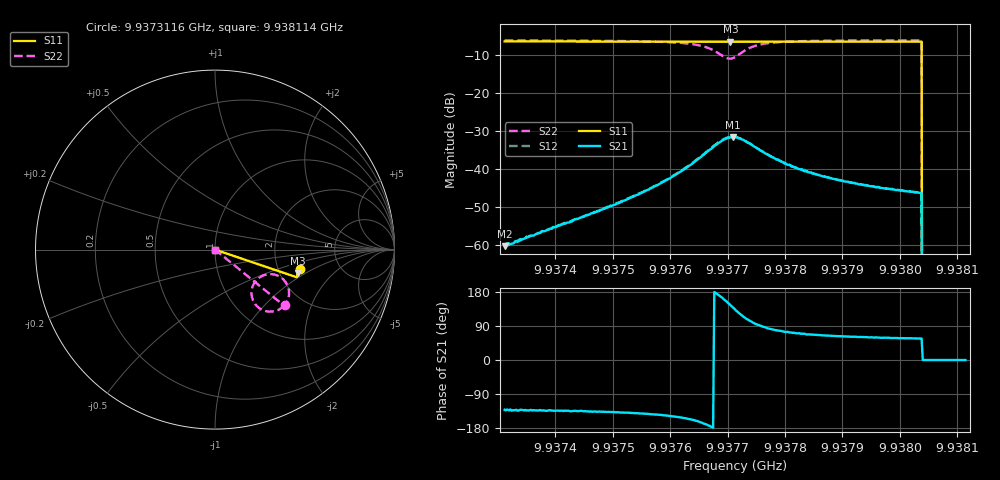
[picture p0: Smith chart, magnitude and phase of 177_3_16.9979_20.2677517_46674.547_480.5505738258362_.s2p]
#  HZ  S  RI  R  50.00
! Rohde & Schwarz Vector Network Analyzer
! Rohde-Schwarz,ZNB20-2Port,1311601062101988,3.16
! Created: UTC 3/20/2024, 11:00:00 PM
! freq[Hz]  re:S11  im:S11  re:S21  im:S21  re:S12  im:S12  re:S22  im:S22
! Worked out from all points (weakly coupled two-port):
!   401 points, 9.9373116 GHz to 9.938114 GHz, reference 50 ohm
!   highest |S21| = -31.55 dB at 9.9377088 GHz (marker M1); lowest = -60.3 dB at 9.9373116 GHz (marker M2)
!   lowest |S11| = -6.4 dB at 9.9377048 GHz (marker M3), VSWR 2.84, Z = 125 - j42.6 ohm
!   |S11| at or under -10 dB: 9.9380378 GHz to end of sweep
!   |S22| runs from - to -6.1 dB; largest |S21 - S12| = 0.0013
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9.93731157e9  0.4714 -0.1071  -0.000636 -0.000723  -0.000666 -0.000707  0.388 -0.3113
9.93732561e9  0.471 -0.1081  -0.000707 -0.000767  -0.000736 -0.000778  0.3867 -0.3126
9.93744598e9  0.4687 -0.1164  -0.00163 -0.00168  -0.00166 -0.00162  0.3728 -0.3244
9.93751218e9  0.4669 -0.1208  -0.00269 -0.0024  -0.00278 -0.00238  0.3599 -0.3321
9.93758039e9  0.4654 -0.1255  -0.00516 -0.00368  -0.00532 -0.00366  0.3355 -0.3422
9.93762252e9  0.4641 -0.1284  -0.00868 -0.00445  -0.00891 -0.00442  0.304 -0.3459
9.93766064e9  0.4623 -0.1308  -0.0157 -0.00309  -0.0162 -0.00284  0.2477 -0.3269
9.93768672e9  0.4608 -0.1319  -0.0224 0.00446  -0.0228 0.00526  0.2043 -0.2558
9.93769675e9  0.4603 -0.1319  -0.023 0.0102  -0.0232 0.0112  0.2083 -0.2088
9.93770477e9  0.4601 -0.1316  -0.0215 0.0152  -0.0213 0.0161  0.2288 -0.1726
9.93770879e9  0.4602 -0.1317  -0.02 0.0173  -0.0196 0.0182  0.2444 -0.158
9.9377128e9  0.4604 -0.1316  -0.0181 0.0191  -0.0176 0.0201  0.2622 -0.1469
9.93772283e9  0.4607 -0.1321  -0.0126 0.0216  -0.0118 0.0224  0.3096 -0.1365
9.93773687e9  0.4612 -0.1327  -0.00569 0.0215  -0.0051 0.0215  0.3622 -0.1516
9.93775894e9  0.4615 -0.1345  0.000173 0.0174  0.000717 0.0172  0.4007 -0.1927
9.93780107e9  0.4609 -0.138  0.0033 0.0114  0.0035 0.0115  0.413 -0.2458
9.93784721e9  0.4598 -0.1412  0.00337 0.0081  0.0036 0.0081  0.408 -0.274
9.93790338e9  0.4587 -0.145  0.00318 0.0061  0.00336 0.00607  0.4007 -0.2919
9.93798162e9  0.4566 -0.1503  0.00286 0.00466  0.00298 0.00462  0.392 -0.3068
9.93803378e9  0.4553 -0.1538  0.00265 0.00408  0.00276 0.00408  0.3871 -0.3135
9.93804381e9  0 0  0 0  0 0  0 0
9.93811403e9  0 0  0 0  0 0  0 0
